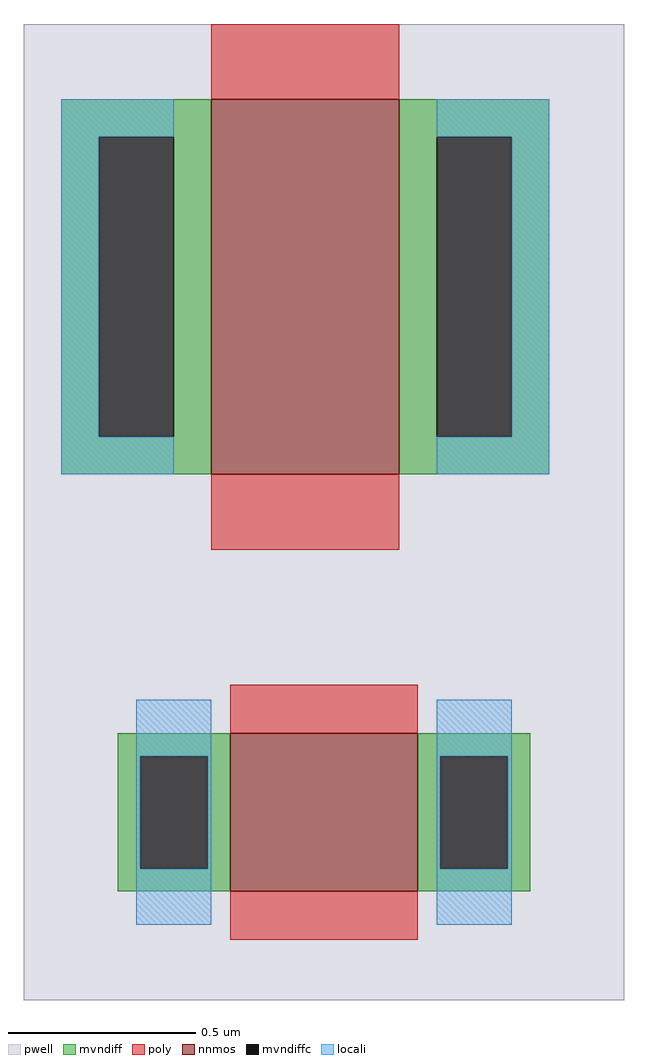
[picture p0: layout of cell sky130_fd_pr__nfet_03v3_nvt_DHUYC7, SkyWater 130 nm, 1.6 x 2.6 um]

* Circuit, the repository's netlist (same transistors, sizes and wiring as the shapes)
* SPICE3 file created from sky130_fd_pr__nfet_03v3_nvt_DHUYC7.ext - technology: sky130A

X0 a_25_n21# a_n25_n34# a_n55_n21# w_n80_n50# sky130_fd_pr__nfet_03v3_nvt ad=0p pd=0u as=0p ps=0u w=420000u l=500000u
X1 a_20_90# a_n30_70# a_n70_90# w_n80_n50# sky130_fd_pr__nfet_03v3_nvt ad=0p pd=0u as=0p ps=0u w=1e+06u l=500000u

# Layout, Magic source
magic
tech sky130A
<< pwell >>
rect -80 -50 80 210
<< nnmos >>
rect -30 90 20 190
rect -25 -21 25 21
<< mvndiff >>
rect -70 180 -30 190
rect -70 100 -60 180
rect -40 100 -30 180
rect -70 90 -30 100
rect 20 180 60 190
rect 20 100 30 180
rect 50 100 60 180
rect 20 90 60 100
rect -55 15 -25 21
rect -55 -15 -49 15
rect -31 -15 -25 15
rect -55 -21 -25 -15
rect 25 15 55 21
rect 25 -15 31 15
rect 49 -15 55 15
rect 25 -21 55 -15
<< mvndiffc >>
rect -60 100 -40 180
rect 30 100 50 180
rect -49 -15 -31 15
rect 31 -15 49 15
<< poly >>
rect -30 190 20 210
rect -30 70 20 90
rect -25 21 25 34
rect -25 -34 25 -21
<< locali >>
rect -70 180 -40 190
rect -70 100 -60 180
rect -70 90 -40 100
rect 30 180 60 190
rect 50 100 60 180
rect 30 90 60 100
rect -50 15 -30 30
rect -50 -15 -49 15
rect -31 -15 -30 15
rect -50 -30 -30 -15
rect 30 15 50 30
rect 30 -15 31 15
rect 49 -15 50 15
rect 30 -30 50 -15
<< end >>
